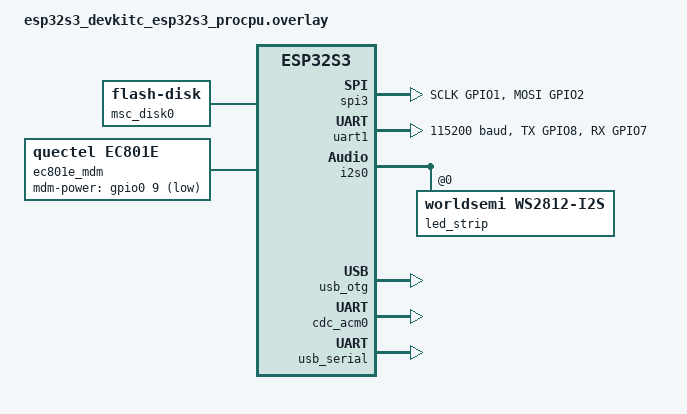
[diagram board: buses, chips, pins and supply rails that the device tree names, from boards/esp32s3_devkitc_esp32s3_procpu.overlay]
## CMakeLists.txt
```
cmake_minimum_required(VERSION 3.20.0)

find_package(Zephyr REQUIRED HINTS $ENV{ZEPHYR_BASE})
project(esp32_chip_info)

add_subdirectory(drivers)

target_sources(app PRIVATE
		src/main_ec801e_hid.c
		src/drone.c
		src/usb.c
	src/serv_addr.c
	src/bitproto/bitproto.c
	src/bitproto/drone_bp.c
	src/bitproto/frameheader_bp.c
		src/bitproto/socket_utls.c
		src/bitproto/protocol_utls.c
)
```

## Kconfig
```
mainmenu "esp32s3tinyepaper"

source "Kconfig.zephyr"

rsource "drivers/Kconfig"
```

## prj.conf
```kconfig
# 基础控制台打印使能
CONFIG_CONSOLE=y
CONFIG_PRINTK=y
CONFIG_UART_CONSOLE=y

# 调整 Flash 物理大小配置为 4MB
CONFIG_FLASH_SIZE=4096

# 如果使用的是 ESP32 系列芯片，确保引导程序（Bootloader）的 Flash 大小也同步修改
# CONFIG_ESP_BOOTLOADER_FLASH_SIZE_4MB=y


CONFIG_GPIO=y
CONFIG_SERIAL=y
CONFIG_UART_USE_RUNTIME_CONFIGURE=y
# CONFIG_MAIN_STACK_SIZE=6144
# CONFIG_HEAP_MEM_POOL_SIZE=4096

CONFIG_NETWORKING=y
CONFIG_NET_NATIVE=n
CONFIG_NET_OFFLOAD=y
CONFIG_NET_SOCKETS=y
CONFIG_NET_SOCKETS_OFFLOAD=y
CONFIG_NET_SOCKETS_OFFLOAD_PRIORITY=40
CONFIG_NET_IPV4=y
CONFIG_NET_TCP=y
CONFIG_NET_UDP=n
CONFIG_NET_DHCPV4=n
CONFIG_EC801E=y
CONFIG_EC801E_APN="CMNET"

# FS
# =========================================================================
# 1. 文件系统与磁盘管理器 (物理 Flash 持久化驱动)
# =========================================================================
CONFIG_FILE_SYSTEM=y
CONFIG_FAT_FILESYSTEM_ELM=y
CONFIG_FS_FATFS_MKFS=y
CONFIG_FILE_SYSTEM_MKFS=y

# 启用底层物理 Flash 存储映射驱动
CONFIG_DISK_ACCESS=y
CONFIG_DISK_DRIVER_FLASH=y
CONFIG_FLASH=y
CONFIG_FLASH_MAP=y
CONFIG_FLASH_PAGE_LAYOUT=y

# =========================================================================
# 2. 现代新版 USB 堆栈 (USB Device Next) 核心配置
# =========================================================================
# 【核心修正】：Zephyr 4.4.1 标准命名符号为 STACK_NEXT
CONFIG_USB_DEVICE_STACK_NEXT=y

# 启用大容量存储设备（MSC）
CONFIG_USBD_MSC_CLASS=y

# 启用 CDC ACM 虚拟串口（与 MSC 组成复合 USB 设备）
CONFIG_USBD_CDC_ACM_CLASS=y

# 控制单设备实例内的最大逻辑单元数量 (默认设为 1 即可满足单 U 盘挂载)
CONFIG_USBD_MSC_LUNS_PER_INSTANCE=1

 
```

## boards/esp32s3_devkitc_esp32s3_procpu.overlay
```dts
#include <zephyr/dt-bindings/led/led.h>
#include <zephyr/dt-bindings/gpio/gpio.h>
#include <zephyr/dt-bindings/pinctrl/esp32s3-pinctrl.h>

/ {
	chosen {
		zephyr,console = &cdc_acm0;
		zephyr,shell-uart = &cdc_acm0;
		/* 关键：将 Zephyr 的文件系统存储分区绑定到我们划分的 flash 分区 */
		zephyr,flash-disk = &msc_disk0;
	};

	aliases {
		led-strip = &led_strip;
		e801-uart = &uart1;
	};

	epd_cfg: epd_cfg {
		epd-dc-gpios = <&gpio0 3 GPIO_ACTIVE_HIGH>;
		epd-cs-gpios = <&gpio0 4 GPIO_ACTIVE_LOW>;
		epd-busy-gpios = <&gpio0 5 GPIO_ACTIVE_HIGH>;
		epd-reset-gpios = <&gpio0 6 GPIO_ACTIVE_HIGH>;
	};

	msc_disk0: msc_disk0 {
		compatible = "zephyr,flash-disk";
		partition = <&storage_partition>;
		disk-name = "FLASH";
		cache-size = <4096>;
		sector-size = <512>;
		status = "okay";
	};

	ec801e_mdm: ec801e_mdm {
		compatible = "quectel,ec801e";
		status = "okay";
		mdm-uart = <&uart1>;
		mdm-power-gpios = <&gpio0 9 GPIO_ACTIVE_LOW>;
	};
};




/* 保持你原有的 pinctrl, spi3, uart1, i2s0 节点不变 */
&pinctrl {
	epd_spi3_default: epd_spi3_default { group1 { pinmux = <SPIM3_SCLK_GPIO1>, <SPIM3_MOSI_GPIO2>; }; };
	uart1_modem_default: uart1_modem_default { group1 { pinmux = <UART1_TX_GPIO8>, <UART1_RX_GPIO7>; }; };
};
&i2c0 { status = "disabled"; };
&i2c1 { status = "disabled"; };
&spi3 { status = "okay"; pinctrl-0 = <&epd_spi3_default>; pinctrl-names = "default"; };
&uart1 { status = "okay"; current-speed = <115200>; pinctrl-0 = <&uart1_modem_default>; pinctrl-names = "default"; };
&i2s0_default { group1 { pinmux = <I2S0_O_SD_GPIO38>; }; };
&i2s0 {
	status = "okay";
	led_strip: ws2812@0 {
		compatible = "worldsemi,ws2812-i2s";
		reg = <0>;
		chain-length = <1>;
		color-mapping = <LED_COLOR_ID_GREEN LED_COLOR_ID_RED LED_COLOR_ID_BLUE>;
		reset-delay = <300>;
	};
};
&dma { status = "okay"; };


/* 开启 ESP32-S3 的原生 USB-OTG 控制器 */
&usb_otg {
	status = "okay";
};

&zephyr_udc0 {
	cdc_acm0: cdc_acm_uart0 {
		compatible = "zephyr,cdc-acm-uart";
	};
};

/* 保持内置 USB-JTAG 调试串口处于开启状态 */
&usb_serial {
	status = "okay";
};

/* ========================================================================= */
/* 核心修正：彻底清理原厂分区，重新按你的 256KB 需求划分存储区 */
/* ========================================================================= */
&flash0 {
	/* 1. 先安全剔除官方底层的旧分区节点，防止任何标签和地址冲突 */
	/delete-node/ partitions;

	/* 2. 重新构建干净的分区表 */
	partitions {
		compatible = "fixed-partitions";
		#address-cells = <1>;
		#size-cells = <1>;

		/* 引导加载程序预留区（ESP-IDF 架构下固定为从 0x0 开始的前 64KB） */
		boot_partition: partition@0 {
			label = "mcuboot";
			reg = <0x00000000 0x00010000>; /* 64KB */
		};

		/* 应用程序固件主分区：
		 * 起始地址移至 0x10000 (64KB)。
		 * 假设你的硬件是 4MB Flash (0x400000 字节)，
		 * 剔除前 64KB 的 boot 和后 256KB 的存储区后，剩余空间全部划给 App 固件。 */
		slot0_partition: partition@10000 {
			label = "image-0";
			reg = <0x00010000 0x003B0000>; /* 3776KB 空间 */
		};

		/* 你的虚拟持久化 U 盘存储区（保留给电脑可读写 hosts.txt） */
		storage_partition: partition@3C0000 {
			label = "storage";
			reg = <0x003C0000 0x0003F000>; /* 252KB */
		};

		/* 激活地址私有分区：不映射到 U 盘，避免被主机直接改写 */
		activeaddr_partition: partition@3FF000 {
			label = "activeaddr";
			reg = <0x003FF000 0x00001000>; /* 4KB */
		};
	};
};
```

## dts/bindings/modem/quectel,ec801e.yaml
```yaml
description: Quectel EC801E modem attached over UART

compatible: "quectel,ec801e"

include: base.yaml

properties:
  mdm-uart:
    type: phandle
    required: true
    description: UART controller connected to the EC801E AT interface.

  mdm-power-gpios:
    type: phandle-array
    required: false
    description: GPIO used to control or power-cycle the modem.
```

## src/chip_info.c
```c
//
// Created by tsingson on 2026/7/27.
//

#include "chip_info.h"

#include <esp_mac.h>
#include <zephyr/kernel.h>
#include <zephyr/storage/flash_map.h>
#include <zephyr/sys/sys_heap.h>

// 获取设备树中 Flash 节点的总大小
#define FLASH_SIZE DT_REG_SIZE(DT_CHOSEN(zephyr_flash_controller))

void get_memory_info(void)
{
    // 1. Flash 空间大小
    printk("Flash Size: %d MB\n", (uint32_t)(FLASH_SIZE / (1024 * 1024)));

    // 2. RAM 空间大小（获取系统内部堆内存状态）
    extern struct k_heap _system_heap;
    struct sys_memory_stats stats;

    sys_heap_runtime_stats_get(&_system_heap.heap, &stats);
    printk("RAM Heap Total: %zu bytes\n", stats.free_bytes + stats.allocated_bytes);
    printk("RAM Heap Free: %zu bytes\n", stats.free_bytes);
}


void get_chip_id(void)
{
    uint8_t mac[6];
    // 获取基准 MAC 地址作为唯一 Chip ID
    if (esp_efuse_mac_get_default(mac) == ESP_OK)
    {
        printk("Chip ID (MAC): %02X:%02X:%02X:%02X:%02X:%02X\n",
               mac[0], mac[1], mac[2], mac[3], mac[4], mac[5]);
    }
}


void get_cpu_freq(void)
{
    // 方式 A：Zephyr 标准内核时钟频率接口
    uint32_t hz = sys_clock_hw_cycles_per_sec();
    printk("CPU Frequency (Zephyr): %u MHz\n", hz / 1000000);

    // 方式 B：底层 HAL 接口（需额外包含相关 esp_clk 头文件）
    // uint32_t esp_hz = esp_clk_cpu_freq();
}
```

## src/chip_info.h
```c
//
// Created by tsingson on 2026/7/27.
//

#ifndef CHIPINFO_CHIP_INFO_H
#define CHIPINFO_CHIP_INFO_H

#endif //CHIPINFO_CHIP_INFO_H
```

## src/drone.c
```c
//
// Created by tsingson on 2026/7/31.
//

#include "drone.h"


void fill_drone(struct Drone* drone, int seq)
{
    memset(drone, 0, sizeof(*drone));

    drone->status = DRONE_STATUS_RISING;
    drone->position.longitude = 2000U + (uint32_t)seq;
    drone->position.latitude = 3000U + (uint32_t)seq;
    drone->position.altitude = 1080U + (uint32_t)seq;
    drone->flight.pose.yaw = 4321 + seq;
    drone->flight.pose.pitch = 1234 + seq;
    drone->flight.pose.roll = 5678 + seq;
    drone->flight.acceleration[0] = -1001 - seq;
    drone->flight.acceleration[1] = 1002 + seq;
    drone->flight.acceleration[2] = 1003 + seq;
    drone->power.is_charging = ((seq % 2) == 0);
    drone->power.battery = 98;
    drone->power.status = POWER_STATUS_ON;
    drone->propellers[0].id = 1;
    drone->propellers[0].direction = ROTATING_DIRECTION_CLOCK_WISE;
    drone->propellers[0].status = PROPELLER_STATUS_ROTATING;
    drone->network.signal = 15;
    drone->network.heartbeat_at = 1611280511628LL + seq;
    drone->landing_gear.status = LANDING_GEAR_STATUS_FOLDED;
}

int run_roundtrip_session(  char* srv_ip, uint16_t srv_port)
{
    int ret = 0;

    for (int seq = 0; seq < GPSEC_ROUNDS; seq++)
    {
        int sock;
        struct Drone drone = {0};
        struct Drone reply_drone = {0};
        uint8_t payload[BYTES_LENGTH_DRONE] = {0};
        uint8_t reply[BYTES_LENGTH_DRONE] = {0};
        size_t payload_len;
        size_t reply_len = 0;

        sock = connect_gpsec_socket(srv_ip, srv_port);
        if (sock < 0)
        {
            printk("round %d connect failed: %d\n", seq, sock);
            return sock;
        }

        fill_drone(&drone, seq);
        payload_len = EncodeDrone(&drone, (unsigned char*)payload);
        if (payload_len != BYTES_LENGTH_DRONE)
        {
            ret = -EINVAL;
            (void)zsock_close(sock);
            break;
        }

        ret = write_frame(sock, payload, payload_len);
        if (ret < 0)
        {
            printk("round %d write_frame failed: %d\n", seq, ret);
            (void)zsock_close(sock);
            break;
        }

        ret = read_frame(sock, reply, sizeof(reply), &reply_len);
        if (ret < 0)
        {
            printk("round %d read_frame failed: %d\n", seq, ret);
            (void)zsock_close(sock);
            break;
        }
        if (reply_len != payload_len || memcmp(reply, payload, payload_len) != 0)
        {
            printk("round %d payload mismatch tx=%u rx=%u\n", seq, (unsigned int)payload_len,
                   (unsigned int)reply_len);
            ret = -EIO;
            (void)zsock_close(sock);
            break;
        }

        if (DecodeDrone(&reply_drone, (unsigned char*)reply) != BYTES_LENGTH_DRONE)
        {
            ret = -EBADMSG;
            (void)zsock_close(sock);
            break;
        }

        printk("round %d ok: status=%u lat=%u lon=%u alt=%u\n", seq,
               (unsigned int)reply_drone.status,
               (unsigned int)reply_drone.position.latitude,
               (unsigned int)reply_drone.position.longitude,
               (unsigned int)reply_drone.position.altitude);
        (void)zsock_close(sock);
        break;
    }
    return ret;
}
```

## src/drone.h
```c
//
// Created by tsingson on 2026/7/31.
//

#ifndef ESP32_CHIP_INFO_DRONE_H
#define ESP32_CHIP_INFO_DRONE_H
#include <errno.h>
#include <stdint.h>
#include <string.h>

#include <zephyr/kernel.h>
#include <zephyr/net/net_ip.h>
#include <zephyr/net/socket.h>
#include <zephyr/sys/printk.h>

#include "ec801e.h"
#include "bitproto/drone_bp.h"
#include "bitproto/socket_utls.h"
#include "bitproto/protocol_utls.h"

#define GPSEC_ROUNDS 3
#define GPSEC_RETRIES 3
#define GPSEC_IO_TIMEOUT_MS 30000
#define GPSEC_RETRY_BACKOFF_MS 1000


void fill_drone(struct Drone* drone, int seq);
int run_roundtrip_session(  char* srv_ip, uint16_t srv_port);

#endif //ESP32_CHIP_INFO_DRONE_H
```

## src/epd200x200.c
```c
#include "epd200x200.h"

#include <errno.h>
#include <string.h>
#include <zephyr/devicetree.h>
#include <zephyr/drivers/gpio.h>
#include <zephyr/drivers/spi.h>
#include <zephyr/kernel.h>
#include <zephyr/sys/printk.h>

#include "zpix12_font_data.h"

#define EPD_WIDTH 200
#define EPD_HEIGHT 200
#define EPD_FB_SIZE ((EPD_WIDTH * EPD_HEIGHT) / 8)
#define EPD_CHINESE_LINE_SPACING_DEFAULT 3
#define EPD_CHINESE_COLUMN_SPACING_DEFAULT 0

#define EPD_DC_PIN 3
#define EPD_CS_PIN 4
#define EPD_BUSY_PIN 5
#define EPD_RESET_PIN 6

static const struct device* const spi_dev = DEVICE_DT_GET(DT_NODELABEL(spi3));
static const struct device* const gpio_dev = DEVICE_DT_GET(DT_NODELABEL(gpio0));

static const struct spi_config epd_spi_cfg = {
    .frequency = 2 * 1000 * 1000,
    .operation = SPI_WORD_SET(8) | SPI_TRANSFER_MSB,
    .slave = 0,
};

static uint8_t epd_framebuf[EPD_FB_SIZE];
static int epd_chinese_line_spacing = EPD_CHINESE_LINE_SPACING_DEFAULT;
static int epd_chinese_column_spacing = EPD_CHINESE_COLUMN_SPACING_DEFAULT;

static void epd_fb_clear(bool black)
{
    memset(epd_framebuf, black ? 0x00 : 0xFF, sizeof(epd_framebuf));
}

static void epd_fb_set_pixel(int x, int y, bool black)
{
    if (x < 0 || x >= EPD_WIDTH || y < 0 || y >= EPD_HEIGHT)
    {
        return;
    }

    int pixel_index = y * EPD_WIDTH + x;
    int byte_index = pixel_index / 8;
    uint8_t bit = BIT(7 - (pixel_index % 8));

    if (black)
    {
        epd_framebuf[byte_index] &= ~bit;
    }
    else
    {
        epd_framebuf[byte_index] |= bit;
    }
}

static void epd_fb_draw_hline(int x0, int x1, int y, bool black)
{
    if (y < 0 || y >= EPD_HEIGHT)
    {
        return;
    }
    if (x0 > x1)
    {
        int tmp = x0;
        x0 = x1;
        x1 = tmp;
    }
    if (x0 < 0)
    {
        x0 = 0;
    }
    if (x1 >= EPD_WIDTH)
    {
        x1 = EPD_WIDTH - 1;
    }

    for (int x = x0; x <= x1; x++)
    {
        epd_fb_set_pixel(x, y, black);
    }
}

static void epd_fb_draw_vline(int x, int y0, int y1, bool black)
{
    if (x < 0 || x >= EPD_WIDTH)
    {
        return;
    }
    if (y0 > y1)
    {
        int tmp = y0;
        y0 = y1;
        y1 = tmp;
    }
    if (y0 < 0)
    {
        y0 = 0;
    }
    if (y1 >= EPD_HEIGHT)
    {
        y1 = EPD_HEIGHT - 1;
    }

    for (int y = y0; y <= y1; y++)
    {
        epd_fb_set_pixel(x, y, black);
    }
}

static void epd_fb_draw_rect(int x, int y, int w, int h, bool black)
{
    if (w <= 0 || h <= 0)
    {
        return;
    }
    epd_fb_draw_hline(x, x + w - 1, y, black);
    epd_fb_draw_hline(x, x + w - 1, y + h - 1, black);
    epd_fb_draw_vline(x, y, y + h - 1, black);
    epd_fb_draw_vline(x + w - 1, y, y + h - 1, black);
}

static void epd_fb_fill_rect(int x, int y, int w, int h, bool black)
{
    if (w <= 0 || h <= 0)
    {
        return;
    }
    for (int yy = y; yy < y + h; yy++)
    {
        epd_fb_draw_hline(x, x + w - 1, yy, black);
    }
}

static const uint8_t font5x7_E[7] = {0x1F, 0x10, 0x1E, 0x10, 0x10, 0x10, 0x1F};
static const uint8_t font5x7_P[7] = {0x1E, 0x11, 0x11, 0x1E, 0x10, 0x10, 0x10};
static const uint8_t font5x7_S[7] = {0x0F, 0x10, 0x10, 0x0E, 0x01, 0x01, 0x1E};
static const uint8_t font5x7_2[7] = {0x0E, 0x11, 0x01, 0x02, 0x04, 0x08, 0x1F};
static const uint8_t font5x7_3[7] = {0x1E, 0x01, 0x01, 0x0E, 0x01, 0x01, 0x1E};
static const uint8_t font5x7_dash[7] = {0x00, 0x00, 0x00, 0x1F, 0x00, 0x00, 0x00};
static const uint8_t bayer8x8[8][8] = {
    {0, 48, 12, 60, 3, 51, 15, 63},
    {32, 16, 44, 28, 35, 19, 47, 31},
    {8, 56, 4, 52, 11, 59, 7, 55},
    {40, 24, 36, 20, 43, 27, 39, 23},
    {2, 50, 14, 62, 1, 49, 13, 61},
    {34, 18, 46, 30, 33, 17, 45, 29},
    {10, 58, 6, 54, 9, 57, 5, 53},
    {42, 26, 38, 22, 41, 25, 37, 21},
};

static const uint8_t* epd_get_font5x7(char c)
{
    switch (c)
    {
    case 'E':
        return font5x7_E;
    case 'P':
        return font5x7_P;
    case 'S':
        return font5x7_S;
    case '2':
        return font5x7_2;
    case '3':
        return font5x7_3;
    case '-':
        return font5x7_dash;
    default:
        return NULL;
    }
}

static void epd_fb_draw_char5x7(int x, int y, char c, bool black)
{
    const uint8_t* glyph = epd_get_font5x7(c);

    if (glyph == NULL)
    {
        return;
    }

    for (int row = 0; row < 7; row++)
    {
        for (int col = 0; col < 5; col++)
        {
            if ((glyph[row] >> (4 - col)) & 0x1)
            {
                epd_fb_set_pixel(x + col, y + row, black);
            }
        }
    }
}

static void epd_fb_draw_text5x7(int x, int y, const char* text, bool black)
{
    for (size_t i = 0; text[i] != '\0'; i++)
    {
        epd_fb_draw_char5x7(x + (int)i * 6, y, text[i], black);
    }
}

/* Extracted from fonts/zpix.bdf (SIZE 12), glyphs U+4E2D and U+6587, BBX 11x11 */
static const zpix12_glyph_t* zpix12_find_glyph(uint32_t codepoint)
{
    size_t left = 0;
    size_t right = zpix12_font_glyphs_count;

    while (left < right)
    {
        size_t mid = left + (right - left) / 2;
        uint32_t cp = zpix12_font_glyphs[mid].codepoint;

        if (cp == codepoint)
        {
            return &zpix12_font_glyphs[mid];
        }
        if (cp < codepoint)
        {
            left = mid + 1;
        }
        else
        {
            right = mid;
        }
    }

    return NULL;
}

static uint32_t utf8_decode_one(const char** s)
{
    const uint8_t* p = (const uint8_t*)(*s);

    if (p[0] == '\0')
    {
        return 0;
    }

    if ((p[0] & 0x80) == 0)
    {
        *s += 1;
        return p[0];
    }

    if ((p[0] & 0xE0) == 0xC0 && (p[1] & 0xC0) == 0x80)
    {
        uint32_t cp = ((uint32_t)(p[0] & 0x1F) << 6) | (uint32_t)(p[1] & 0x3F);
        *s += 2;
        return cp;
    }

    if ((p[0] & 0xF0) == 0xE0 && (p[1] & 0xC0) == 0x80 && (p[2] & 0xC0) == 0x80)
    {
        uint32_t cp = ((uint32_t)(p[0] & 0x0F) << 12) |
            ((uint32_t)(p[1] & 0x3F) << 6) |
            (uint32_t)(p[2] & 0x3F);
        *s += 3;
        return cp;
    }

    if ((p[0] & 0xF8) == 0xF0 && (p[1] & 0xC0) == 0x80 &&
        (p[2] & 0xC0) == 0x80 && (p[3] & 0xC0) == 0x80)
    {
        uint32_t cp = ((uint32_t)(p[0] & 0x07) << 18) |
            ((uint32_t)(p[1] & 0x3F) << 12) |
            ((uint32_t)(p[2] & 0x3F) << 6) |
            (uint32_t)(p[3] & 0x3F);
        *s += 4;
        return cp;
    }

    /* Invalid UTF-8 byte sequence; skip one byte and render fallback. */
    *s += 1;
    return '?';
}

static void epd_fb_draw_glyph12(int x, int y, const zpix12_glyph_t* glyph, bool black)
{
    if (glyph == NULL)
    {
        return;
    }

    for (int row = 0; row < 12; row++)
    {
        uint16_t bits = glyph->rows[row];
        for (int col = 0; col < 12; col++)
        {
            if ((bits & BIT(11 - col)) != 0U)
            {
                epd_fb_set_pixel(x + col, y + row, black);
            }
        }
    }
}

static void epd_fb_draw_utf8_text12(int x, int y, const char* text, int max_cols, int max_rows,
                                    int line_spacing, bool black)
{
    int col = 0;
    int row = 0;
    int line_pitch = 12 + line_spacing;
    int col_pitch = 12 + epd_chinese_column_spacing;
    const char* p = text;

    if (line_spacing < 0)
    {
        line_pitch = 12;
    }

    if (epd_chinese_column_spacing < 0)
    {
        col_pitch = 12;
    }

    while (*p != '\0' && row < max_rows)
    {
        if (*p == '\n')
        {
            p++;
            col = 0;
            row++;
            continue;
        }

        if (col >= max_cols)
        {
            col = 0;
            row++;
            if (row >= max_rows)
            {
                break;
            }
        }

        uint32_t cp = utf8_decode_one(&p);
        const zpix12_glyph_t* glyph = zpix12_find_glyph(cp);
        if (glyph == NULL)
        {
            glyph = zpix12_find_glyph('?');
        }

        epd_fb_draw_glyph12(x + col * col_pitch, y + row * line_pitch, glyph, black);
        col++;
    }
}

void epd200x200_set_chinese_line_spacing(int spacing)
{
    if (spacing < 0)
    {
        spacing = 0;
    }

    epd_chinese_line_spacing = spacing;
}

void epd200x200_set_chinese_column_spacing(int spacing)
{
    if (spacing < 0)
    {
        spacing = 0;
    }

    epd_chinese_column_spacing = spacing;
}

static int epd_write_bytes(bool is_data, const uint8_t* data, size_t len)
{
    int ret;
    struct spi_buf tx_buf = {
        .buf = (uint8_t*)data,
        .len = len,
    };
    struct spi_buf_set tx = {
        .buffers = &tx_buf,
        .count = 1,
    };

    ret = gpio_pin_set(gpio_dev, EPD_DC_PIN, is_data ? 1 : 0);
    if (ret < 0)
    {
        return ret;
    }

    ret = gpio_pin_set(gpio_dev, EPD_CS_PIN, 0);
    if (ret < 0)
    {
        return ret;
    }

    ret = spi_write(spi_dev, &epd_spi_cfg, &tx);
    (void)gpio_pin_set(gpio_dev, EPD_CS_PIN, 1);
    return ret;
}

static int epd_write_cmd(uint8_t cmd)
{
    return epd_write_bytes(false, &cmd, 1);
}

static int epd_write_data(const uint8_t* data, size_t len)
{
    return epd_write_bytes(true, data, len);
}

static int epd_write_data_byte(uint8_t data)
{
    return epd_write_data(&data, 1);
}

static int epd_wait_idle(int timeout_ms)
{
    int64_t deadline = k_uptime_get() + timeout_ms;

    while (k_uptime_get() < deadline)
    {
        int busy = gpio_pin_get(gpio_dev, EPD_BUSY_PIN);
        if (busy < 0)
        {
            return busy;
        }
        if (busy == 0)
        {
            return 0;
        }
        k_sleep(K_MSEC(10));
    }

    return -ETIMEDOUT;
}

static int epd_reset_sequence(void)
{
    int ret = gpio_pin_set(gpio_dev, EPD_RESET_PIN, 0);
    if (ret < 0)
    {
        return ret;
    }
    k_sleep(K_MSEC(10));

    ret = gpio_pin_set(gpio_dev, EPD_RESET_PIN, 1);
    if (ret < 0)
    {
        return ret;
    }
    k_sleep(K_MSEC(10));
    return 0;
}

static int epd_set_ram_full_window(void)
{
    int ret;

    ret = epd_write_cmd(0x44);
    if (ret < 0)
    {
        return ret;
    }
    ret = epd_write_data_byte(0x00);
    if (ret < 0)
    {
        return ret;
    }
    ret = epd_write_data_byte((EPD_WIDTH / 8) - 1);
    if (ret < 0)
    {
        return ret;
    }

    ret = epd_write_cmd(0x45);
    if (ret < 0)
    {
        return ret;
    }
    ret = epd_write_data_byte(0x00);
    if (ret < 0)
    {
        return ret;
    }
    ret = epd_write_data_byte(0x00);
    if (ret < 0)
    {
        return ret;
    }
    ret = epd_write_data_byte((EPD_HEIGHT - 1) & 0xFF);
    if (ret < 0)
    {
        return ret;
    }
    ret = epd_write_data_byte(((EPD_HEIGHT - 1) >> 8) & 0xFF);
    return ret;
}

static int epd_set_ram_cursor_origin(void)
{
    int ret;

    ret = epd_write_cmd(0x4E);
    if (ret < 0)
    {
        return ret;
    }
    ret = epd_write_data_byte(0x00);
    if (ret < 0)
    {
        return ret;
    }

    ret = epd_write_cmd(0x4F);
    if (ret < 0)
    {
        return ret;
    }
    ret = epd_write_data_byte(0x00);
    if (ret < 0)
    {
        return ret;
    }
    ret = epd_write_data_byte(0x00);
    return ret;
}

static int epd_update_display(void)
{
    int ret;

    ret = epd_write_cmd(0x22);
    if (ret < 0)
    {
        return ret;
    }
    ret = epd_write_data_byte(0xF7);
    if (ret < 0)
    {
        return ret;
    }

    ret = epd_write_cmd(0x20);
    if (ret < 0)
    {
        return ret;
    }

    return epd_wait_idle(5000);
}

static int epd_present_framebuf(void)
{
    int ret;

    ret = epd_set_ram_full_window();
    if (ret < 0)
    {
        return ret;
    }

    ret = epd_set_ram_cursor_origin();
    if (ret < 0)
    {
        return ret;
    }

    ret = epd_write_cmd(0x24);
    if (ret < 0)
    {
        return ret;
    }

    ret = epd_write_data(epd_framebuf, sizeof(epd_framebuf));
    if (ret < 0)
    {
        return ret;
    }

    return epd_update_display();
}

int epd200x200_init(void)
{
    int ret;
    uint8_t gate_height_l = (EPD_HEIGHT - 1) & 0xFF;
    uint8_t gate_height_h = ((EPD_HEIGHT - 1) >> 8) & 0xFF;

    if (!device_is_ready(spi_dev) || !device_is_ready(gpio_dev))
    {
        printk("EPD: spi/gpio device not ready\n");
        return -ENODEV;
    }

    ret = gpio_pin_configure(gpio_dev, EPD_DC_PIN, GPIO_OUTPUT_INACTIVE);
    if (ret < 0)
    {
        return ret;
    }
    ret = gpio_pin_configure(gpio_dev, EPD_CS_PIN, GPIO_OUTPUT_ACTIVE);
    if (ret < 0)
    {
        return ret;
    }
    ret = gpio_pin_configure(gpio_dev, EPD_RESET_PIN, GPIO_OUTPUT_ACTIVE);
    if (ret < 0)
    {
        return ret;
    }
    ret = gpio_pin_configure(gpio_dev, EPD_BUSY_PIN, GPIO_INPUT);
    if (ret < 0)
    {
        return ret;
    }

    ret = epd_reset_sequence();
    if (ret < 0)
    {
        return ret;
    }

    ret = epd_write_cmd(0x12);
    if (ret < 0)
    {
        return ret;
    }
    ret = epd_wait_idle(5000);
    if (ret < 0)
    {
        return ret;
    }

    ret = epd_write_cmd(0x01);
    if (ret < 0)
    {
        return ret;
    }
    ret = epd_write_data_byte(gate_height_l);
    if (ret < 0)
    {
        return ret;
    }
    ret = epd_write_data_byte(gate_height_h);
    if (ret < 0)
    {
        return ret;
    }
    ret = epd_write_data_byte(0x00);
    if (ret < 0)
    {
        return ret;
    }

    ret = epd_write_cmd(0x11);
    if (ret < 0)
    {
        return ret;
    }
    ret = epd_write_data_byte(0x03);
    if (ret < 0)
    {
        return ret;
    }

    ret = epd_set_ram_full_window();
    if (ret < 0)
    {
        return ret;
    }

    ret = epd_set_ram_cursor_origin();
    if (ret < 0)
    {
        return ret;
    }

    ret = epd_write_cmd(0x3C);
    if (ret < 0)
    {
        return ret;
    }
    ret = epd_write_data_byte(0x05);
    if (ret < 0)
    {
        return ret;
    }

    ret = epd_write_cmd(0x18);
    if (ret < 0)
    {
        return ret;
    }
    ret = epd_write_data_byte(0x80);
    if (ret < 0)
    {
        return ret;
    }

    printk("EPD: init ok\n");
    return 0;
}

int epd200x200_clear(bool black)
{
    int ret;

    epd_fb_clear(black);

    ret = epd_present_framebuf();
    if (ret < 0)
    {
        return ret;
    }

    printk("EPD: clear %s done\n", black ? "black" : "white");
    return 0;
}

int epd200x200_show_demo(void)
{
    int ret;

    epd_fb_clear(false);

    epd_fb_draw_rect(0, 0, EPD_WIDTH, EPD_HEIGHT, true);
    epd_fb_draw_rect(8, 8, EPD_WIDTH - 16, EPD_HEIGHT - 16, true);

    for (int i = 20; i < 180; i += 12)
    {
        epd_fb_set_pixel(i, i, true);
        epd_fb_set_pixel(199 - i, i, true);
    }

    epd_fb_fill_rect(20, 30, 36, 36, true);
    epd_fb_fill_rect(66, 30, 36, 36, false);
    epd_fb_draw_rect(66, 30, 36, 36, true);
    epd_fb_fill_rect(112, 30, 36, 36, true);
    epd_fb_fill_rect(158, 30, 22, 36, false);
    epd_fb_draw_rect(158, 30, 22, 36, true);

    epd_fb_draw_text5x7(70, 95, "ESP32-S3", true);
    epd_fb_draw_text5x7(52, 112, "EPD 200X200", true);

    epd_fb_draw_hline(20, 180, 135, true);
    for (int x = 20; x <= 180; x += 8)
    {
        epd_fb_draw_vline(x, 140, 170, true);
    }

    ret = epd_present_framebuf();
    if (ret < 0)
    {
        return ret;
    }

    printk("EPD: demo drawn\n");
    return 0;
}

int epd200x200_show_grayscale_transition(void)
{
    const int bands = 8;
    const int band_width = EPD_WIDTH / bands;
    int ret;

    epd_fb_clear(false);

    for (int y = 0; y < EPD_HEIGHT; y++)
    {
        for (int x = 0; x < EPD_WIDTH; x++)
        {
            int band = x / band_width;
            if (band >= bands)
            {
                band = bands - 1;
            }

            /* 0 -> white, 255 -> black */
            int black_level = (band * 255) / (bands - 1);
            int threshold = (bayer8x8[y & 0x7][x & 0x7] * 256) / 64;
            bool is_black = black_level > threshold;

            epd_fb_set_pixel(x, y, is_black);
        }
    }

    /* Add visual separators between gray levels */
    for (int i = 1; i < bands; i++)
    {
        int x = i * band_width;
        epd_fb_draw_vline(x, 0, EPD_HEIGHT - 1, true);
    }

    ret = epd_present_framebuf();
    if (ret < 0)
    {
        return ret;
    }

    printk("EPD: grayscale transition drawn\n");
    return 0;
}

int epd200x200_show_chinese_demo(void)
{
    int ret;
    static const char* const pages[] = {
        "原始:3.0M 396992行\n子集:1.0M 133584行\n体积约减少66%",
        "共保留7515字形\n缺失25字形\n可在extra文件补充",
        "zpix字库最小化完成保留:英文1 符号和常用简体中文2  zpix字库最小化完成3 保留:英文/符号\n和常用简体中文\nzpix字库最小化完成\n保留:英文/符号\n和常用简体中文",

    };
    const int page_count = sizeof(pages) / sizeof(pages[0]);

    for (int i = 0; i < page_count; i++)
    {
        epd_fb_clear(false);
        epd_fb_draw_utf8_text12(4, 30, pages[i], 16, 12, epd_chinese_line_spacing, true);

        ret = epd_present_framebuf();
        if (ret < 0)
        {
            return ret;
        }

        k_sleep(K_SECONDS(3));
    }

    printk("EPD: paged Chinese summary drawn\n");
    return 0;
}
```

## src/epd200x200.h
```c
#ifndef CHIPINFO_EPD200X200_H
#define CHIPINFO_EPD200X200_H

#include <stdbool.h>

int epd200x200_init(void);
int epd200x200_clear(bool black);
int epd200x200_show_demo(void);
int epd200x200_show_grayscale_transition(void);
void epd200x200_set_chinese_line_spacing(int spacing);
void epd200x200_set_chinese_column_spacing(int spacing);
int epd200x200_show_chinese_demo(void);

#endif
```

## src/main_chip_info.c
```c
#include <zephyr/kernel.h>
#include <zephyr/devicetree.h>
#include <zephyr/drivers/led_strip.h>
#include <zephyr/storage/flash_map.h>
#include <zephyr/sys/sys_heap.h>   // 必须包含此头文件以引入 sys_heap_runtime_stats_get
#include <esp_mac.h>
#include <string.h>

#include "epd200x200.h"

#define FLASH_SIZE DT_REG_SIZE(DT_CHOSEN(zephyr_flash_controller))
#define STRIP_NODE DT_ALIAS(led_strip)
#define BREATH_STEP_MS 20
#define BREATH_MAX 64

#if !DT_NODE_HAS_STATUS(STRIP_NODE, okay)
#error "led-strip alias is not defined in devicetree"
#endif

#define STRIP_NUM_PIXELS DT_PROP(STRIP_NODE, chain_length)

// 声明 Zephyr 全局内核系统堆对象
extern struct sys_heap _system_heap;

int main(void)
{
    const struct device* strip = DEVICE_DT_GET(STRIP_NODE);
    struct led_rgb pixels[STRIP_NUM_PIXELS];
    int breath = 0;
    int breath_dir = 1;
    int hue = 0;
    int hue_dir = 1;

    // 延迟 500ms 等待硬件供电与串口驱动完全稳定
    k_sleep(K_MSEC(500));


    printk("\n=== ESP32-S3-Tiny System Info ===\n");

    // 1. Chip ID (MAC Address)
    uint8_t mac[6];
    if (esp_efuse_mac_get_default(mac) == ESP_OK)
    {
        printk("Chip ID (MAC)   : %02X:%02X:%02X:%02X:%02X:%02X\n",
               mac[0], mac[1], mac[2], mac[3], mac[4], mac[5]);
    }

    // 2. CPU Freq
    uint32_t cpu_hz = sys_clock_hw_cycles_per_sec();
    printk("CPU Frequency   : %u MHz\n", cpu_hz / 1000000);

    // 3. Flash & RAM
    printk("Flash Size      : %u MB\n", (uint32_t)(FLASH_SIZE / (1024 * 1024)));

    // 【修复核心】：使用 Zephyr 4.4.1 标准内核堆统计接口
    struct sys_memory_stats stats;
    int ret = sys_heap_runtime_stats_get(&_system_heap, &stats);
    if (ret == 0)
    {
        printk("Heap Total/Free : %zu / %zu bytes\n",
               (stats.free_bytes + stats.allocated_bytes), stats.free_bytes);
    }
    else
    {
        printk("Failed to get heap stats (Error: %d)\n", ret);
    }

    // 4. Interfaces (使用 #if 代替 #ifdef，防止预处理逻辑错误)
#if DT_HAS_COMPAT_STATUS_OKAY(espressif_esp32_uart)
    printk("Active UARTs    : %d\n", DT_NUM_INST_STATUS_OKAY(espressif_esp32_uart));
#endif

#if DT_HAS_COMPAT_STATUS_OKAY(espressif_esp32_i2c)
    printk("Active I2Cs     : %d\n", DT_NUM_INST_STATUS_OKAY(espressif_esp32_i2c));
#endif

    printk("=================================\n");

    ret = epd200x200_init();
    if (ret == 0)
    {
        ret = epd200x200_show_chinese_demo();
        if (ret < 0)
        {
            printk("EPD chinese demo failed: %d\n", ret);
        }
    }
    else
    {
        printk("EPD init failed: %d\n", ret);
    }

    if (!device_is_ready(strip))
    {
        printk("LED strip device is not ready\n");
        return 0;
    }

    while (1)
    {
        memset(pixels, 0, sizeof(pixels));

        pixels[0].r = 0;
        pixels[0].g = (uint8_t)((breath * (255 - hue)) / 255);
        pixels[0].b = (uint8_t)((breath * hue) / 255);

        if (led_strip_update_rgb(strip, pixels, STRIP_NUM_PIXELS) != 0)
        {
            printk("Failed to update WS2812\n");
        }

        breath += breath_dir;
        if (breath >= BREATH_MAX)
        {
            breath = BREATH_MAX;
            breath_dir = -1;
        }
        else if (breath <= 0)
        {
            breath = 0;
            breath_dir = 1;
        }

        hue += hue_dir;
        if (hue >= 255)
        {
            hue = 255;
            hue_dir = -1;
        }
        else if (hue <= 0)
        {
            hue = 0;
            hue_dir = 1;
        }

        k_sleep(K_MSEC(BREATH_STEP_MS));
    }
}
```

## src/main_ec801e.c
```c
#include <errno.h>
#include <stdint.h>
#include <string.h>

#include <zephyr/kernel.h>
#include <zephyr/net/net_ip.h>
#include <zephyr/net/socket.h>
#include <zephyr/sys/printk.h>

#include "ec801e.h"
#include "bitproto/drone_bp.h"
#include "bitproto/socket_utls.h"
#include "bitproto/protocol_utls.h"
#include "drone.h"


#define GPSEC_SERVER_IP "142.54.180.58"
#define GPSEC_SERVER_PORT 8061
#define GPSEC_ROUNDS 3
#define GPSEC_RETRIES 3
#define GPSEC_IO_TIMEOUT_MS 30000
#define GPSEC_RETRY_BACKOFF_MS 1000


int main(void)
{
    k_sleep(K_MSEC(500));
    printk("\n=== EC801E-CN Bitproto TCP Demo ====\n");
    int ret;
    struct ec801e_module_info mod = {0};
    struct ec801e_signal_info sig = {0};
    int en_level = -1;
    int qret;

    k_sleep(K_MSEC(800));


    qret = ec801e_get_module_info(&mod);
    if (qret == 0)
    {
        printk("EC801E info: imei=%s cereg=%d ip=%s\n", mod.imei, mod.cereg_stat,
               mod.ip_valid ? mod.ip : "N/A");
    }
    else
    {
        printk("EC801E info query failed: %d\n", qret);
    }

    qret = ec801e_get_signal_info(&sig);
    if (qret == 0)
    {
        printk("EC801E signal: csq=%d ber=%d rssi_dbm=%d\n", sig.rssi_raw, sig.ber,
               sig.rssi_dbm);
    }
    else
    {
        printk("EC801E signal query failed: %d\n", qret);
    }

    qret = ec801e_get_en_pin_state(&en_level);
    if (qret == 0)
    {
        printk("EC801E EN pin level: %d\n", en_level);
    }
    else
    {
        printk("EC801E EN pin query unavailable: %d\n", qret);
    }

    for (int attempt = 1; attempt <= GPSEC_RETRIES; attempt++)
    {
        ret = run_roundtrip_session(GPSEC_SERVER_IP, GPSEC_SERVER_PORT);
        if (ret == 0)
        {
            printk("GPSEC tcpip example done rounds=%d attempt=%d\n", GPSEC_ROUNDS, attempt);
            break;
        }

        printk("GPSEC attempt %d/%d failed: %d\n", attempt, GPSEC_RETRIES, ret);
        if (attempt < GPSEC_RETRIES)
        {
            k_sleep(K_MSEC(GPSEC_RETRY_BACKOFF_MS));
        }
    }


    while (1)
    {
        k_sleep(K_SECONDS(10));
    }

    return 0;
}
```

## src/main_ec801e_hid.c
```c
#include <errno.h>
#include <stdbool.h>
#include <stdlib.h>
#include <stdint.h>
#include <string.h>

#include <zephyr/device.h>
#include <zephyr/fs/fs.h>
#include <zephyr/kernel.h>
#include <zephyr/logging/log.h>
#include <zephyr/net/socket.h>
#include <zephyr/storage/disk_access.h>
#include "usb.h"

#include <ff.h>

#include "bitproto/drone_bp.h"
#include "bitproto/frameheader_bp.h"
#include "serv_addr.h"
#include "ec801e.h"
#include "bitproto/drone_bp.h"
#include "bitproto/socket_utls.h"
#include "bitproto/protocol_utls.h"
#include "drone.h"

LOG_MODULE_REGISTER(main, LOG_LEVEL_INF);


/* 改变磁盘名称为 FLASH */
#define DISK_NAME "FLASH"
#define MOUNT_POINT "/FLASH:"
#define TARGET_FILE_PATH "/FLASH:/hosts.txt"
#define HOSTS_BUF_SIZE 128
#define HOSTS_POLL_INTERVAL_MS 3000
//

#define HOSTS_BUF_SIZE 128
#define DRONE_REPORT_INTERVAL_MS (4 * 60 * 1000)
#define MAIN_LOOP_SLEEP_MS 1000
#define GPSEC_IO_TIMEOUT_MS 30000
#define GPSEC_RETRY_BACKOFF_MS 1000
#define GPSEC_ROUNDS 3
#define GPSEC_RETRIES 3

//
#include <zephyr/kernel.h>

static const char* const default_host = "142.54.180.58:8061\n";
 static  char*  serv_ip = "142.54.180.58";
static   uint16_t serv_port = 8061;

static FATFS fat_fs;
static struct fs_mount_t mp = {
    .type = FS_FATFS,
    .fs_data = &fat_fs,
    .mnt_point = MOUNT_POINT,
};

static char last_host_value[HOSTS_BUF_SIZE];
static bool host_value_valid;
//
static void trim_line_end(char* s)
{
    size_t n = strlen(s);

    while (n > 0 && (s[n - 1] == '\r' || s[n - 1] == '\n'))
    {
        s[--n] = '\0';
    }
}

static int parse_host_port(const char* input, char* host, size_t host_len, uint16_t* port)
{
    const char* colon;
    char port_str[8];
    long p;
    size_t host_part_len;
    size_t port_part_len;

    if (input == NULL || host == NULL || port == NULL || host_len < 2U)
    {
        return -EINVAL;
    }

    colon = strrchr(input, ':');
    if (colon == NULL || colon == input || colon[1] == '\0')
    {
        return -EINVAL;
    }

    host_part_len = (size_t)(colon - input);
    if (host_part_len >= host_len)
    {
        return -EINVAL;
    }

    port_part_len = strlen(colon + 1);
    if (port_part_len == 0U || port_part_len >= sizeof(port_str))
    {
        return -EINVAL;
    }

    memcpy(host, input, host_part_len);
    host[host_part_len] = '\0';

    memcpy(port_str, colon + 1, port_part_len + 1);
    p = strtol(port_str, NULL, 10);
    if (p <= 0 || p > 65535)
    {
        return -EINVAL;
    }

    *port = (uint16_t)p;
    return 0;
}

static int read_hosts(char* buf, size_t buf_len)
{
    struct fs_file_t file;
    ssize_t read_bytes;
    int ret;

    if (buf_len == 0U)
    {
        return -EINVAL;
    }

    buf[0] = '\0';
    fs_file_t_init(&file);

    ret = fs_open(&file, TARGET_FILE_PATH, FS_O_READ);
    if (ret < 0)
    {
        return ret;
    }

    read_bytes = fs_read(&file, buf, buf_len - 1);
    (void)fs_close(&file);
    if (read_bytes < 0)
    {
        return (int)read_bytes;
    }

    buf[read_bytes] = '\0';
    trim_line_end(buf);
    return 0;
}

static int ensure_default_hosts_file(void)
{
    struct fs_file_t file;
    int ret;

    fs_file_t_init(&file);
    ret = fs_open(&file, TARGET_FILE_PATH, FS_O_READ);
    if (ret == 0)
    {
        (void)fs_close(&file);
        return 0;
    }

    ret = fs_open(&file, TARGET_FILE_PATH, FS_O_CREATE | FS_O_WRITE);
    if (ret < 0)
    {
        return ret;
    }

    ret = fs_write(&file, default_host, strlen(default_host));
    if (ret >= 0)
    {
        (void)fs_sync(&file);
    }
    (void)fs_close(&file);

    return ret < 0 ? ret : 0;
}

static bool hosts_addr_is_valid(const char* addr)
{
    char host[80];
    uint16_t port;

    if (addr == NULL || addr[0] == '\0')
    {
        return false;
    }

    return parse_host_port(addr, host, sizeof(host), &port) == 0;
}

/*
 * Set the FAT volume label using FatFs API `f_setlabel` so that the
 * volume label root-directory entry is created/updated correctly. The
 * FatFs implementation handles both creating the root-dir label entry and
 * syncing metadata.
 *
 * pdrv: unused for FatFs API here (kept for compatibility)
 * label: ASCII label (up to 11 chars). Longer input will be truncated.
 */
static int set_fat_volume_label(const char* pdrv, const char* label)
{
    uint8_t sector[512];
    char lab11[11];
    int ret;
    size_t i;

    if (pdrv == NULL || label == NULL)
    {
        return -EINVAL;
    }

    /* Prepare 11-byte label (space-padded) */
    memset(lab11, ' ', sizeof(lab11));
    for (i = 0; i < sizeof(lab11) && label[i]; ++i) {
        lab11[i] = label[i];
    }

    /* Update VBR (sector 0) label fields first */
    ret = disk_access_read(pdrv, sector, 0, 1);
    if (ret) return ret;

    /* The mkfs implementation writes the 11-byte label starting at these offsets. */
    memcpy(&sector[43], lab11, 11);
    memcpy(&sector[71], lab11, 11);

    ret = disk_access_write(pdrv, sector, 0, 1);
    if (ret) return ret;

    /* Attempt to update the root-directory volume-label entry for FAT12/16.
     * For small on-device volumes (typical in this project) FAT12/16 is common
     * and the root-dir occupies a contiguous set of sectors immediately
     * following the FAT area, so we can update/create an AM_VOL entry there.
     * For FAT32 root-dir is cluster-based and not handled here.
     */
    {
        uint16_t bytes_per_sector = sector[11] | (sector[12] << 8);
        uint16_t root_ent_cnt = sector[17] | (sector[18] << 8);
        uint16_t rsvd_sec_cnt = sector[14] | (sector[15] << 8);
        uint8_t num_fats = sector[16];
        uint32_t fatsz16 = sector[22] | (sector[23] << 8);
        uint32_t fatsz32 = sector[36] | (sector[37] << 8) | (sector[38] << 16) | (sector[39] << 24);
        uint32_t fatsz = fatsz16 ? fatsz16 : fatsz32;

        if (fatsz == 0) {
            /* Unexpected; bail out */
            (void)disk_access_ioctl(pdrv, DISK_IOCTL_CTRL_SYNC, NULL);
            return 0;
        }

        if (fatsz32 != 0) {
            /* FAT32: root directory is cluster-based. We only updated VBR above.
             * Leaving further handling to FatFs APIs (not available here).
             */
            (void)disk_access_ioctl(pdrv, DISK_IOCTL_CTRL_SYNC, NULL);
            return 0;
        }

        /* FAT12/16: compute root dir sector and size */
        uint32_t root_dir_sectors = ((uint32_t)root_ent_cnt * 32 + bytes_per_sector - 1) / bytes_per_sector;
        uint32_t first_root_dir_sector = rsvd_sec_cnt + (uint32_t)num_fats * fatsz;

        if (root_dir_sectors == 0) {
            (void)disk_access_ioctl(pdrv, DISK_IOCTL_CTRL_SYNC, NULL);
            return 0;
        }

        /* Read root dir area */
        uint8_t *rootbuf = k_malloc(root_dir_sectors * bytes_per_sector);
        if (!rootbuf) return -ENOMEM;

        ret = disk_access_read(pdrv, rootbuf, first_root_dir_sector, root_dir_sectors);
        if (ret) {
            k_free(rootbuf);
            return ret;
        }

        /* Look for existing AM_VOL entry or a free slot */
        int found_idx = -1;
        int free_idx = -1;
        for (uint32_t off = 0; off < root_dir_sectors * bytes_per_sector; off += 32) {
            uint8_t first = rootbuf[off + 0];
            uint8_t attr = rootbuf[off + 11];
            if (first == 0x00) { /* no more entries */
                if (free_idx == -1) free_idx = (int)off;
                break;
            }
            if (first == 0xE5) { /* deleted */
                if (free_idx == -1) free_idx = (int)off;
                continue;
            }
            if ((attr & 0x08) == 0x08) { /* AM_VOL */
                found_idx = (int)off;
                break;
            }
        }

        int write_off = -1;
        if (found_idx >= 0) write_off = found_idx;
        else if (free_idx >= 0) write_off = free_idx;

        if (write_off >= 0) {
            memcpy(&rootbuf[write_off], lab11, 11);
            /* ensure attribute is volume label */
            rootbuf[write_off + 11] = 0x08;

            /* Write back modified root dir sectors */
            ret = disk_access_write(pdrv, rootbuf, first_root_dir_sector, root_dir_sectors);
        }

        k_free(rootbuf);
    }

    return disk_access_ioctl(pdrv, DISK_IOCTL_CTRL_SYNC, NULL);
}

/* USB setup and helpers moved to src/usb.c */

static int setup_flash_disk(void)
{
    int ret;

    ret = disk_access_ioctl(DISK_NAME, DISK_IOCTL_CTRL_INIT, NULL);
    if (ret < 0)
    {
        return ret;
    }

    ret = fs_mount(&mp);
    if (ret < 0)
    {
        ret = fs_mkfs(FS_FATFS, (uintptr_t)DISK_NAME, NULL, 0);
        if (ret < 0)
        {
            return ret;
        }
        /* Ensure the FAT volume has a readable label so host shows a name */
        (void)set_fat_volume_label(DISK_NAME, "FLASH");
        ret = fs_mount(&mp);
        if (ret < 0)
        {
            return ret;
        }
    }

    ret = ensure_default_hosts_file();
    if (ret < 0)
    {
        return ret;
    }

    ret = read_hosts(last_host_value, sizeof(last_host_value));
    if (ret < 0)
    {
        return ret;
    }

    host_value_valid = true;
    ret = serv_addr_init(last_host_value);
    if (ret < 0)
    {
        return ret;
    }

    hosts_refresh_pending = false;

    printk("[HID] hosts.txt=%s\n", last_host_value);
    printk("[HID] active=%s\n", get_serv_addr());
    return 0;
}

static void refresh_hosts_if_needed(void)
{
    char host_value[HOSTS_BUF_SIZE];
    int ret;

    if (!hosts_refresh_pending)
    {
        return;
    }
    hosts_refresh_pending = false;

    ret = disk_access_ioctl(DISK_NAME, DISK_IOCTL_CTRL_SYNC, NULL);
    if (ret < 0)
    {
        LOG_DBG("disk sync failed (%d)", ret);
    }

    ret = fs_unmount(&mp);
    if (ret < 0)
    {
        return;
    }

    ret = fs_mount(&mp);
    if (ret < 0)
    {
        LOG_WRN("fs remount failed (%d)", ret);
        return;
    }

    if (read_hosts(host_value, sizeof(host_value)) == -ENOENT)
    {
        return;
    }

    ret = read_hosts(host_value, sizeof(host_value));
    if (ret < 0)
    {
        return;
    }

    if (!host_value_valid || strcmp(host_value, last_host_value) != 0)
    {
        if (host_value[0] == '\0')
        {
            printk("[HID] hosts.txt is empty, keep active=%s\n", get_serv_addr());
        }
        else if (!hosts_addr_is_valid(host_value))
        {
            printk("[HID] hosts.txt invalid '%s', keep active=%s\n",
                   host_value, get_serv_addr());
        }
        else
        {
            ret = serv_addr_try_promote(host_value);
            if (ret == 0)
            {
                printk("[HID] promote success active=%s\n", get_serv_addr());
            }
            else
            {
                printk("[HID] promote keep old active=%s\n", get_serv_addr());
            }
        }

        strncpy(last_host_value, host_value, sizeof(last_host_value) - 1);
        last_host_value[sizeof(last_host_value) - 1] = '\0';
        host_value_valid = true;
    }
}


void print_ec801e_diag(void)
{
    struct ec801e_module_info mod = {0};
    struct ec801e_signal_info sig = {0};
    int en_level = -1;
    int qret;

    qret = ec801e_get_module_info(&mod);
    if (qret == 0)
    {
        printk("EC801E info: imei=%s cereg=%d ip=%s\n",
               mod.imei, mod.cereg_stat, mod.ip_valid ? mod.ip : "N/A");
    }

    qret = ec801e_get_signal_info(&sig);
    if (qret == 0)
    {
        printk("EC801E signal: csq=%d ber=%d rssi_dbm=%d\n",
               sig.rssi_raw, sig.ber, sig.rssi_dbm);
    }

    qret = ec801e_get_en_pin_state(&en_level);
    if (qret == 0)
    {
        printk("EC801E EN pin level: %d\n", en_level);
    }
}

//
//  消费者/接收方
void consumer_thread(void* p1, void* p2, void* p3)
{
    while (k_sem_take(&sync_sem, K_FOREVER) == 0)
    {
        printk("Consumer: Processed the event!\n");
        char host_value[HOSTS_BUF_SIZE];
        int ret = read_hosts(host_value, sizeof(host_value));
        if (ret < 0)
        {
            printk("Failed to read hosts.txt: %d\n", ret);
            continue;
        }
        else
        {
            printk("Consumer: Read hosts.txt: %s\n", host_value);

            char host[80];
            uint16_t port;

            int ret = parse_host_port(host_value, host, sizeof(host), &port);
            if (ret == 0)
            {
                printk("host:\t%s\tport:\t%d\n", host, port);
                serv_ip = host;
                serv_port = port;
            }
        }
    }
}

#define STACK_SIZE 1024
#define PRIORITY 7

K_THREAD_DEFINE(cons_id, STACK_SIZE, consumer_thread, NULL, NULL, NULL, PRIORITY, 0, 0);


int main(void)
{
    int ret;
    int64_t next_report_at;

    k_sleep(K_MSEC(800));
    printk("\n=== EC801E + HID serv_addr TCP Demo ===\n");

    ret = setup_flash_disk();
    if (ret < 0)
    {
        printk("setup_flash_disk failed: %d\n", ret);
        return ret;
    }

    ret = setup_usb_msc();
    if (ret < 0)
    {
        printk("setup_usb_msc failed: %d\n", ret);
        return ret;
    }

    printk("USB MSC + CDC ready, active=%s\n", get_serv_addr());
    // print_ec801e_diag();

    next_report_at = k_uptime_get();

    printk("Starting the worker thread manually...\n");

    for (int attempt = 1; attempt <= GPSEC_RETRIES; attempt++)
    {
        ret = run_roundtrip_session(serv_ip, serv_port);
        if (ret == 0)
        {
            printk("GPSEC tcpip example done rounds=%d attempt=%d\n", GPSEC_ROUNDS, attempt);
            break;
        }

        printk("GPSEC attempt %d/%d failed: %d\n", attempt, GPSEC_RETRIES, ret);
        if (attempt < GPSEC_RETRIES)
        {
            k_sleep(K_MSEC(GPSEC_RETRY_BACKOFF_MS));
        }
    }


    while (true)
    {
        int64_t now = k_uptime_get();

        if (usb_host_connected || hosts_refresh_pending)
        {
            refresh_hosts_if_needed();
        }

        if (now >= next_report_at)
        {
            ret = -EIO;
            for (int attempt = 1; attempt <= GPSEC_RETRIES; attempt++)
            {
                // ret = run_roundtrip_once();
                // if (ret == 0)
                // {
                //     break;
                // }
                // printk("[TCP] attempt %d/%d failed: %d (active=%s)\n",
                //        attempt, GPSEC_RETRIES, ret, get_serv_addr());
                if (attempt < GPSEC_RETRIES)
                {
                    k_sleep(K_MSEC(GPSEC_RETRY_BACKOFF_MS));
                }
            }

            next_report_at = k_uptime_get() + DRONE_REPORT_INTERVAL_MS;
        }

        k_sleep(K_MSEC(MAIN_LOOP_SLEEP_MS));
    }

    return 0;
}
```

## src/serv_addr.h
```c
#ifndef SERV_ADDR_H
#define SERV_ADDR_H

#ifdef __cplusplus
extern "C" {
#endif

int serv_addr_init(const char* initial_addr);
int serv_addr_try_promote(const char* candidate_addr);
const char* get_serv_addr(void);

#ifdef __cplusplus
}
#endif

#endif /* SERV_ADDR_H */
```
